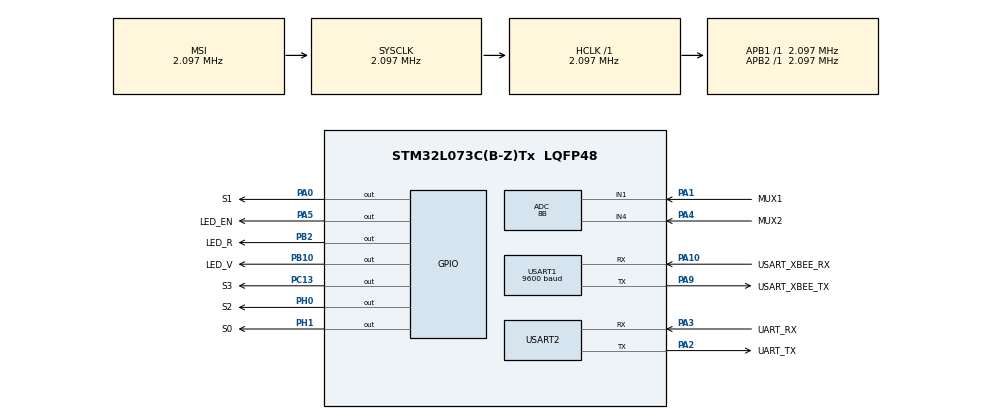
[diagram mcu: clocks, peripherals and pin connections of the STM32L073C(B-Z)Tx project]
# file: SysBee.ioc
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ADC.ContinuousConvMode=ENABLE
ADC.Resolution=ADC_RESOLUTION_8B
Dma.Request0=USART2_TX
Dma.Request1=USART2_RX
Dma.USART2_RX.1.Direction=DMA_PERIPH_TO_MEMORY
Dma.USART2_RX.1.Instance=DMA1_Channel5
Dma.USART2_RX.1.MemDataAlignment=DMA_MDATAALIGN_BYTE
Dma.USART2_RX.1.MemInc=DMA_MINC_ENABLE
Dma.USART2_RX.1.Mode=DMA_NORMAL
Dma.USART2_RX.1.PeriphDataAlignment=DMA_PDATAALIGN_BYTE
Dma.USART2_RX.1.PeriphInc=DMA_PINC_DISABLE
Dma.USART2_RX.1.Priority=DMA_PRIORITY_LOW
Dma.USART2_TX.0.Direction=DMA_MEMORY_TO_PERIPH
Dma.USART2_TX.0.Instance=DMA1_Channel4
Dma.USART2_TX.0.MemDataAlignment=DMA_MDATAALIGN_BYTE
Dma.USART2_TX.0.MemInc=DMA_MINC_ENABLE
Dma.USART2_TX.0.Mode=DMA_NORMAL
Dma.USART2_TX.0.PeriphDataAlignment=DMA_PDATAALIGN_BYTE
Dma.USART2_TX.0.PeriphInc=DMA_PINC_DISABLE
Dma.USART2_TX.0.Priority=DMA_PRIORITY_LOW
Mcu.Family=STM32L0
Mcu.Name=STM32L073C(B-Z)Tx
Mcu.Package=LQFP48
NVIC.DMA1_Channel4_5_6_7_IRQn=true\:0\:0\:false\:false\:true\:false\:true\:true
NVIC.TIM21_IRQn=true\:0\:0\:false\:false\:true\:true\:true\:true
NVIC.TIM2_IRQn=true\:0\:0\:false\:false\:true\:true\:true\:true
NVIC.TIM3_IRQn=true\:0\:0\:false\:false\:true\:true\:true\:true
NVIC.USART1_IRQn=true\:0\:0\:false\:false\:true\:true\:true\:true
PA0.GPIO_Label=S1
PA0.Signal=GPIO_Output
PA1.GPIO_Label=MUX1
PA1.Mode=IN1
PA1.Signal=ADC_IN1
PA10.GPIO_Label=USART_XBEE_RX
PA10.Mode=Asynchronous
PA10.Signal=USART1_RX
PA2.GPIO_Label=UART_TX
PA2.Mode=Asynchronous
PA2.Signal=USART2_TX
PA3.GPIO_Label=UART_RX
PA3.Mode=Asynchronous
PA3.Signal=USART2_RX
PA4.GPIO_Label=MUX2
PA4.Mode=IN4
PA4.Signal=ADC_IN4
PA5.GPIO_Label=LED_EN
PA5.Signal=GPIO_Output
PA9.GPIO_Label=USART_XBEE_TX
PA9.Mode=Asynchronous
PA9.Signal=USART1_TX
PB10.GPIO_Label=LED_V
PB10.Signal=GPIO_Output
PB2.GPIO_Label=LED_R
PB2.Signal=GPIO_Output
PC13.GPIO_Label=S3
PC13.Signal=GPIO_Output
PH0-OSC_IN.GPIO_Label=S2
PH0-OSC_IN.Signal=GPIO_Output
PH1-OSC_OUT.GPIO_Label=S0
PH1-OSC_OUT.Signal=GPIO_Output
ProjectManager.HeapSize=0x200
ProjectManager.StackSize=0x400
ProjectManager.TargetToolchain=STM32CubeIDE
RCC.AHBFreq_Value=2097000
RCC.APB1Freq_Value=2097000
RCC.APB1TimFreq_Value=2097000
RCC.APB2Freq_Value=2097000
RCC.APB2TimFreq_Value=2097000
RCC.HSE_VALUE=8000000
RCC.HSI16_VALUE=16000000
RCC.HSI48_VALUE=48000000
RCC.HSI_VALUE=16000000
RCC.LSE_VALUE=32768
RCC.MSI_VALUE=2097000
RCC.SYSCLKFreq_VALUE=2097000
RCC.VCOOutputFreq_Value=48000000
TIM2.Period=14
TIM2.Prescaler=65535
TIM2.TIM_MasterOutputTrigger=TIM_TRGO_RESET
TIM21.Period=2
TIM21.Prescaler=8192
TIM3.AutoReloadPreload=TIM_AUTORELOAD_PRELOAD_DISABLE
TIM3.CounterMode=TIM_COUNTERMODE_DOWN
TIM3.Period=319
TIM3.Prescaler=65535
TIM3.TIM_MasterOutputTrigger=TIM_TRGO_RESET
USART1.BaudRate=9600
USART1.MSBFirstParam=ADVFEATURE_MSBFIRST_ENABLE
USART1.VirtualMode-Asynchronous=VM_ASYNC
USART2.MSBFirstParam=ADVFEATURE_MSBFIRST_DISABLE
USART2.VirtualMode-Asynchronous=VM_ASYNC
VP_TIM21_VS_ClockSourceINT.Mode=Internal
VP_TIM2_VS_ClockSourceINT.Mode=Internal
VP_TIM3_VS_ClockSourceINT.Mode=Internal
board=custom

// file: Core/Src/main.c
/* USER CODE BEGIN Header */
/**
  ******************************************************************************
  * @file           : main.c
  * @brief          : Main program body
  ******************************************************************************
  * @attention
  *
  * Copyright (c) 2022 STMicroelectronics.
  * All rights reserved.
  *
  * This software is licensed under terms that can be found in the LICENSE file
  * in the root directory of this software component.
  * If no LICENSE file comes with this software, it is provided AS-IS.
  *
  ******************************************************************************
  */

/* USER CODE END Header */
#include "main.h"

/* USER CODE BEGIN Includes */
//#include "xbee_core.h"
/* USER CODE END Includes */

 ADC_HandleTypeDef hadc;

TIM_HandleTypeDef htim2;
TIM_HandleTypeDef htim3;
TIM_HandleTypeDef htim21;

UART_HandleTypeDef huart1;
UART_HandleTypeDef huart2;
DMA_HandleTypeDef hdma_usart2_tx;
DMA_HandleTypeDef hdma_usart2_rx;

/* USER CODE BEGIN PV */
int16_t traqueur;
uint8_t xbee_usart1_rx_flag = HAL_ERROR;
uint8_t xbee_usart1_tx_flag = HAL_ERROR;
uint8_t xbee_usart1_rx_size = 0;
int8_t message[40]; //AVIRER
int8_t commande[10];
uint8_t scan_abeilles_flag = 0;
uint8_t calcul_trafic_flag = 0;

uint8_t capteur_ext; //AVIRER
uint8_t capteur_int;
uint8_t buffer_capteur_ext[69]; //avirer
uint8_t buffer_capteur_int[69];
/* USER CODE END PV */

void SystemClock_Config(void);
static void MX_GPIO_Init(void);
static void MX_DMA_Init(void);
static void MX_USART2_UART_Init(void);
static void MX_TIM2_Init(void);
static void MX_TIM3_Init(void);
static void MX_TIM21_Init(void);
static void MX_USART1_UART_Init(void);
static void MX_ADC_Init(void);

int main(void)
{

  /* MCU Configuration--------------------------------------------------------*/

  /* Reset of all peripherals, Initializes the Flash interface and the Systick. */
  HAL_Init();

  /* Configure the system clock */
  SystemClock_Config();

  /* Initialize all configured peripherals */
  MX_GPIO_Init();
  MX_DMA_Init();
  MX_USART2_UART_Init();
  MX_TIM2_Init();
  MX_TIM3_Init();
  MX_TIM21_Init();
  MX_USART1_UART_Init();
  MX_ADC_Init();
  /* USER CODE BEGIN 2 */
  HAL_TIM_Base_Start_IT(&htim2);
  HAL_TIM_Base_Start_IT(&htim3);
  HAL_TIM_Base_Start_IT(&htim21);
  /* USER CODE END 2 */

  /* Infinite loop */
  /* USER CODE BEGIN WHILE */
  //HAL_UART_Transmit(&huart1, "bla", 3, HAL_MAX_DELAY); //OK
  //OK
  /*if (HAL_OK != HAL_UART_Transmit_DMA(&huart1, "\xF0\xF0\xF0\xF0", 4))     	// Fire Transmission DMA
  	{
  		Error_Handler();
  	}*/
  //*message = "Xbee - Test DMA RX TX...\r\n ";
  uint8_t aTextInfoStart[] = "\r\nXbEE - config...\r\n";

  HAL_UART_Transmit(&huart2, aTextInfoStart, strlen(aTextInfoStart),HAL_MAX_DELAY);
  //xbeeStatus = XbeeConfig(); //Ca serait bien de faire ça pour faire propre mais bon.

  while (1)
  {
    /* USER CODE END WHILE */

    /* USER CODE BEGIN 3 */
	  //sysbee_app_fsm();
	  //scan_sensors();
	  HAL_GPIO_WritePin(GPIOA, LED_EN_Pin, 1); //allume les LEDs des capteurs, à NE PAS OUBLIER !!! --> sinon pas de lecture :(
	  scan_sensor_unit(15);
	  //debug_sensors();
	  HAL_Delay(100);

  }
  /* USER CODE END 3 */
}

void SystemClock_Config(void)
{
  RCC_OscInitTypeDef RCC_OscInitStruct = {0};
  RCC_ClkInitTypeDef RCC_ClkInitStruct = {0};
  RCC_PeriphCLKInitTypeDef PeriphClkInit = {0};

  /** Configure the main internal regulator output voltage
  */
  __HAL_PWR_VOLTAGESCALING_CONFIG(PWR_REGULATOR_VOLTAGE_SCALE1);

  /** Initializes the RCC Oscillators according to the specified parameters
  * in the RCC_OscInitTypeDef structure.
  */
  RCC_OscInitStruct.OscillatorType = RCC_OSCILLATORTYPE_MSI;
  RCC_OscInitStruct.MSIState = RCC_MSI_ON;
  RCC_OscInitStruct.MSICalibrationValue = 0;
  RCC_OscInitStruct.MSIClockRange = RCC_MSIRANGE_5;
  RCC_OscInitStruct.PLL.PLLState = RCC_PLL_NONE;
  if (HAL_RCC_OscConfig(&RCC_OscInitStruct) != HAL_OK)
  {
    Error_Handler();
  }

  /** Initializes the CPU, AHB and APB buses clocks
  */
  RCC_ClkInitStruct.ClockType = RCC_CLOCKTYPE_HCLK|RCC_CLOCKTYPE_SYSCLK
                              |RCC_CLOCKTYPE_PCLK1|RCC_CLOCKTYPE_PCLK2;
  RCC_ClkInitStruct.SYSCLKSource = RCC_SYSCLKSOURCE_MSI;
  RCC_ClkInitStruct.AHBCLKDivider = RCC_SYSCLK_DIV1;
  RCC_ClkInitStruct.APB1CLKDivider = RCC_HCLK_DIV1;
  RCC_ClkInitStruct.APB2CLKDivider = RCC_HCLK_DIV1;

  if (HAL_RCC_ClockConfig(&RCC_ClkInitStruct, FLASH_LATENCY_0) != HAL_OK)
  {
    Error_Handler();
  }
  PeriphClkInit.PeriphClockSelection = RCC_PERIPHCLK_USART1|RCC_PERIPHCLK_USART2;
  PeriphClkInit.Usart1ClockSelection = RCC_USART1CLKSOURCE_PCLK2;
  PeriphClkInit.Usart2ClockSelection = RCC_USART2CLKSOURCE_PCLK1;
  if (HAL_RCCEx_PeriphCLKConfig(&PeriphClkInit) != HAL_OK)
  {
    Error_Handler();
  }
}

static void MX_ADC_Init(void)
{

  ADC_ChannelConfTypeDef sConfig = {0};

  /** Configure the global features of the ADC (Clock, Resolution, Data Alignment and number of conversion)
  */
  hadc.Instance = ADC1;
  hadc.Init.OversamplingMode = DISABLE;
  hadc.Init.ClockPrescaler = ADC_CLOCK_SYNC_PCLK_DIV1;
  hadc.Init.Resolution = ADC_RESOLUTION_8B;
  hadc.Init.SamplingTime = ADC_SAMPLETIME_1CYCLE_5;
  hadc.Init.ScanConvMode = ADC_SCAN_DIRECTION_FORWARD;
  hadc.Init.DataAlign = ADC_DATAALIGN_RIGHT;
  hadc.Init.ContinuousConvMode = ENABLE;
  hadc.Init.DiscontinuousConvMode = DISABLE;
  hadc.Init.ExternalTrigConvEdge = ADC_EXTERNALTRIGCONVEDGE_NONE;
  hadc.Init.ExternalTrigConv = ADC_SOFTWARE_START;
  hadc.Init.DMAContinuousRequests = DISABLE;
  hadc.Init.EOCSelection = ADC_EOC_SINGLE_CONV;
  hadc.Init.Overrun = ADC_OVR_DATA_PRESERVED;
  hadc.Init.LowPowerAutoWait = DISABLE;
  hadc.Init.LowPowerFrequencyMode = ENABLE;
  hadc.Init.LowPowerAutoPowerOff = DISABLE;
  if (HAL_ADC_Init(&hadc) != HAL_OK)
  {
    Error_Handler();
  }

  /** Configure for the selected ADC regular channel to be converted.
  */
  sConfig.Channel = ADC_CHANNEL_1;
  sConfig.Rank = ADC_RANK_CHANNEL_NUMBER;
  if (HAL_ADC_ConfigChannel(&hadc, &sConfig) != HAL_OK)
  {
    Error_Handler();
  }

  /** Configure for the selected ADC regular channel to be converted.
  */
  sConfig.Channel = ADC_CHANNEL_4;
  if (HAL_ADC_ConfigChannel(&hadc, &sConfig) != HAL_OK)
  {
    Error_Handler();
  }

}

static void MX_TIM2_Init(void)
{

  TIM_ClockConfigTypeDef sClockSourceConfig = {0};
  TIM_MasterConfigTypeDef sMasterConfig = {0};

  htim2.Instance = TIM2;
  htim2.Init.Prescaler = 65535;
  htim2.Init.CounterMode = TIM_COUNTERMODE_UP;
  htim2.Init.Period = 14;
  htim2.Init.ClockDivision = TIM_CLOCKDIVISION_DIV1;
  htim2.Init.AutoReloadPreload = TIM_AUTORELOAD_PRELOAD_DISABLE;
  if (HAL_TIM_Base_Init(&htim2) != HAL_OK)
  {
    Error_Handler();
  }
  sClockSourceConfig.ClockSource = TIM_CLOCKSOURCE_INTERNAL;
  if (HAL_TIM_ConfigClockSource(&htim2, &sClockSourceConfig) != HAL_OK)
  {
    Error_Handler();
  }
  sMasterConfig.MasterOutputTrigger = TIM_TRGO_RESET;
  sMasterConfig.MasterSlaveMode = TIM_MASTERSLAVEMODE_DISABLE;
  if (HAL_TIMEx_MasterConfigSynchronization(&htim2, &sMasterConfig) != HAL_OK)
  {
    Error_Handler();
  }

}

static void MX_TIM3_Init(void)
{

  TIM_ClockConfigTypeDef sClockSourceConfig = {0};
  TIM_MasterConfigTypeDef sMasterConfig = {0};

  htim3.Instance = TIM3;
  htim3.Init.Prescaler = 65535;
  htim3.Init.CounterMode = TIM_COUNTERMODE_DOWN;
  htim3.Init.Period = 319;
  htim3.Init.ClockDivision = TIM_CLOCKDIVISION_DIV1;
  htim3.Init.AutoReloadPreload = TIM_AUTORELOAD_PRELOAD_DISABLE;
  if (HAL_TIM_Base_Init(&htim3) != HAL_OK)
  {
    Error_Handler();
  }
  sClockSourceConfig.ClockSource = TIM_CLOCKSOURCE_INTERNAL;
  if (HAL_TIM_ConfigClockSource(&htim3, &sClockSourceConfig) != HAL_OK)
  {
    Error_Handler();
  }
  sMasterConfig.MasterOutputTrigger = TIM_TRGO_RESET;
  sMasterConfig.MasterSlaveMode = TIM_MASTERSLAVEMODE_DISABLE;
  if (HAL_TIMEx_MasterConfigSynchronization(&htim3, &sMasterConfig) != HAL_OK)
  {
    Error_Handler();
  }

}

static void MX_TIM21_Init(void)
{

  TIM_ClockConfigTypeDef sClockSourceConfig = {0};
  TIM_MasterConfigTypeDef sMasterConfig = {0};

  htim21.Instance = TIM21;
  htim21.Init.Prescaler = 8192;
  htim21.Init.CounterMode = TIM_COUNTERMODE_UP;
  htim21.Init.Period = 2;
  htim21.Init.ClockDivision = TIM_CLOCKDIVISION_DIV1;
  htim21.Init.AutoReloadPreload = TIM_AUTORELOAD_PRELOAD_DISABLE;
  if (HAL_TIM_Base_Init(&htim21) != HAL_OK)
  {
    Error_Handler();
  }
  sClockSourceConfig.ClockSource = TIM_CLOCKSOURCE_INTERNAL;
  if (HAL_TIM_ConfigClockSource(&htim21, &sClockSourceConfig) != HAL_OK)
  {
    Error_Handler();
  }
  sMasterConfig.MasterOutputTrigger = TIM_TRGO_RESET;
  sMasterConfig.MasterSlaveMode = TIM_MASTERSLAVEMODE_DISABLE;
  if (HAL_TIMEx_MasterConfigSynchronization(&htim21, &sMasterConfig) != HAL_OK)
  {
    Error_Handler();
  }

}

static void MX_USART1_UART_Init(void)
{

  huart1.Instance = USART1;
  huart1.Init.BaudRate = 9600;
  huart1.Init.WordLength = UART_WORDLENGTH_8B;
  huart1.Init.StopBits = UART_STOPBITS_1;
  huart1.Init.Parity = UART_PARITY_NONE;
  huart1.Init.Mode = UART_MODE_TX_RX;
  huart1.Init.HwFlowCtl = UART_HWCONTROL_NONE;
  huart1.Init.OverSampling = UART_OVERSAMPLING_16;
  huart1.Init.OneBitSampling = UART_ONE_BIT_SAMPLE_DISABLE;
  huart1.AdvancedInit.AdvFeatureInit = UART_ADVFEATURE_MSBFIRST_INIT;
  huart1.AdvancedInit.MSBFirst = UART_ADVFEATURE_MSBFIRST_ENABLE;
  if (HAL_UART_Init(&huart1) != HAL_OK)
  {
    Error_Handler();
  }

}

static void MX_USART2_UART_Init(void)
{

  huart2.Instance = USART2;
  huart2.Init.BaudRate = 115200;
  huart2.Init.WordLength = UART_WORDLENGTH_8B;
  huart2.Init.StopBits = UART_STOPBITS_1;
  huart2.Init.Parity = UART_PARITY_NONE;
  huart2.Init.Mode = UART_MODE_TX_RX;
  huart2.Init.HwFlowCtl = UART_HWCONTROL_NONE;
  huart2.Init.OverSampling = UART_OVERSAMPLING_16;
  huart2.Init.OneBitSampling = UART_ONE_BIT_SAMPLE_DISABLE;
  huart2.AdvancedInit.AdvFeatureInit = UART_ADVFEATURE_NO_INIT;
  if (HAL_UART_Init(&huart2) != HAL_OK)
  {
    Error_Handler();
  }

}

static void MX_DMA_Init(void)
{

  /* DMA controller clock enable */
  __HAL_RCC_DMA1_CLK_ENABLE();

  /* DMA interrupt init */
  /* DMA1_Channel4_5_6_7_IRQn interrupt configuration */
  HAL_NVIC_SetPriority(DMA1_Channel4_5_6_7_IRQn, 0, 0);
  HAL_NVIC_EnableIRQ(DMA1_Channel4_5_6_7_IRQn);

}

static void MX_GPIO_Init(void)
{
  GPIO_InitTypeDef GPIO_InitStruct = {0};

  /* GPIO Ports Clock Enable */
  __HAL_RCC_GPIOC_CLK_ENABLE();
  __HAL_RCC_GPIOH_CLK_ENABLE();
  __HAL_RCC_GPIOA_CLK_ENABLE();
  __HAL_RCC_GPIOB_CLK_ENABLE();

  /*Configure GPIO pin Output Level */
  HAL_GPIO_WritePin(S3_GPIO_Port, S3_Pin, GPIO_PIN_RESET);

  /*Configure GPIO pin Output Level */
  HAL_GPIO_WritePin(GPIOH, S2_Pin|S0_Pin, GPIO_PIN_RESET);

  /*Configure GPIO pin Output Level */
  HAL_GPIO_WritePin(GPIOA, S1_Pin|LED_EN_Pin, GPIO_PIN_RESET);

  /*Configure GPIO pin Output Level */
  HAL_GPIO_WritePin(GPIOB, LED_R_Pin|LED_V_Pin, GPIO_PIN_RESET);

  /*Configure GPIO pin : S3_Pin */
  GPIO_InitStruct.Pin = S3_Pin;
  GPIO_InitStruct.Mode = GPIO_MODE_OUTPUT_PP;
  GPIO_InitStruct.Pull = GPIO_NOPULL;
  GPIO_InitStruct.Speed = GPIO_SPEED_FREQ_LOW;
  HAL_GPIO_Init(S3_GPIO_Port, &GPIO_InitStruct);

  /*Configure GPIO pins : S2_Pin S0_Pin */
  GPIO_InitStruct.Pin = S2_Pin|S0_Pin;
  GPIO_InitStruct.Mode = GPIO_MODE_OUTPUT_PP;
  GPIO_InitStruct.Pull = GPIO_NOPULL;
  GPIO_InitStruct.Speed = GPIO_SPEED_FREQ_LOW;
  HAL_GPIO_Init(GPIOH, &GPIO_InitStruct);

  /*Configure GPIO pins : S1_Pin LED_EN_Pin */
  GPIO_InitStruct.Pin = S1_Pin|LED_EN_Pin;
  GPIO_InitStruct.Mode = GPIO_MODE_OUTPUT_PP;
  GPIO_InitStruct.Pull = GPIO_NOPULL;
  GPIO_InitStruct.Speed = GPIO_SPEED_FREQ_LOW;
  HAL_GPIO_Init(GPIOA, &GPIO_InitStruct);

  /*Configure GPIO pins : LED_R_Pin LED_V_Pin */
  GPIO_InitStruct.Pin = LED_R_Pin|LED_V_Pin;
  GPIO_InitStruct.Mode = GPIO_MODE_OUTPUT_PP;
  GPIO_InitStruct.Pull = GPIO_NOPULL;
  GPIO_InitStruct.Speed = GPIO_SPEED_FREQ_LOW;
  HAL_GPIO_Init(GPIOB, &GPIO_InitStruct);

}

/* USER CODE BEGIN 4 */

void test_DMA(void)
{
	char rxbuff[10];
	char txbuff[]="+++";
	if (HAL_OK != HAL_UARTEx_ReceiveToIdle_DMA(&huart1, rxbuff, 3))
		  HAL_GPIO_WritePin(LED_V_GPIO_Port, LED_V_Pin, GPIO_PIN_SET);

	//HAL_UART_Transmit_DMA(&huart1, txbuff, 3);
	HAL_UART_Transmit(&huart1, txbuff, 3,HAL_MAX_DELAY);
}

void lirexbee(void)
{
	int8_t reponse[10];
	int status = 0;

	XbeeSendCmdWaitOk("+++");
	status = HAL_UART_GetState(&huart1);

	strcpy(commande,"ATID\r");
	status = XbeeSendCmdWaitResp(commande, message);
	HAL_UART_Transmit(&huart2, message, strlen(message),HAL_MAX_DELAY);

	strcpy(commande,"ATCH\r");
	status = XbeeSendCmdWaitResp(commande, message);
	HAL_UART_Transmit(&huart2, message, strlen(message),HAL_MAX_DELAY);

	strcpy(commande,"ATNI\r");
	status = XbeeSendCmdWaitResp(commande, message);
	HAL_UART_Transmit(&huart2, message, strlen(message),HAL_MAX_DELAY);

	strcpy(commande,"ATCE\r"); //ok expected 3
	status = XbeeSendCmdWaitResp(commande, message);
	HAL_UART_Transmit(&huart2, message, strlen(message),HAL_MAX_DELAY);

	strcpy(commande,"ATAP\r"); //ok expected 1
	status = XbeeSendCmdWaitResp(commande, message);
	HAL_UART_Transmit(&huart2, message, strlen(message),HAL_MAX_DELAY);

	strcpy(commande,"ATCN\r"); //ok deconnexion
	status = XbeeSendCmdWaitResp(commande, message);
	HAL_UART_Transmit(&huart2, message, strlen(message),HAL_MAX_DELAY);

}

void HAL_UARTEx_RxEventCallback(UART_HandleTypeDef *huart, uint16_t Size) {
	if (huart->Instance == USART1){
		if(__HAL_UART_GET_FLAG(&huart1, UART_FLAG_IDLE) == SET)
	    {
		     __HAL_UART_CLEAR_IDLEFLAG(&huart1);
		     xbee_usart1_rx_flag = HAL_OK;
		     xbee_usart1_rx_size = Size;
	    }
		//HAL_UART_Transmit(&huart2, "IT-USART1\r", 10,HAL_MAX_DELAY);
		//huart1.RxState = HAL_UART_STATE_READY; //On force un peu la main en considérant que quand il y a eu une réception USART1 avec interruption sur Idle, alors il faut que l'usart soit de nouveau libre.
	}
	//if (huart->Instance == USART2)
		//HAL_UART_Transmit(&huart2, "IT-USART2\r", 10,HAL_MAX_DELAY);

	//on y fera d'autres if (gnagnagna) dans le cas ou on utilise d'autres usart
}

void HAL_TIM_PeriodElapsedCallback(TIM_HandleTypeDef *htim){ //permet de lancer les fonctions sur interruption des timers
	if (htim == &htim21) {
		scan_abeilles_flag = 1;
	}
	else if (htim == &htim3) {
		calcul_trafic_flag = 1;
	}
	else if (htim == &htim2) {
		update_led();
	}
}
/* USER CODE END 4 */

void Error_Handler(void)
{
  /* USER CODE BEGIN Error_Handler_Debug */
  /* User can add his own implementation to report the HAL error return state */
	  HAL_GPIO_WritePin(LED_V_GPIO_Port, LED_V_Pin, GPIO_PIN_SET);

  //sprintf(texte,"%d",traqueur);
  //HAL_UART_Transmit(&huart2, texte, strlen(texte),HAL_MAX_DELAY);
  __disable_irq();
  while (1)
  {
  }
  /* USER CODE END Error_Handler_Debug */
}
